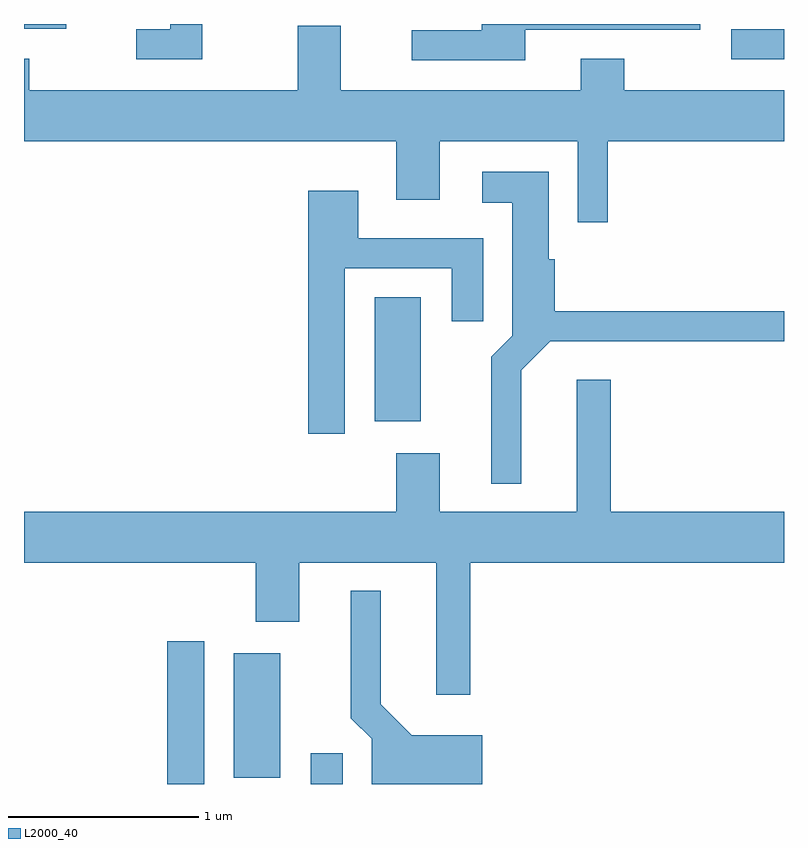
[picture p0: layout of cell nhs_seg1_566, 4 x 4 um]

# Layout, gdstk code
import gdstk
lib = gdstk.Library(unit=1e-6, precision=1e-09)
def R(c, l, rs):  # rectangles x0, y0, x1, y1
    for r in rs: c.add(gdstk.rectangle(r[:2], r[2:], *l))
def P(c, l, *ps):  # polygons
    for p in ps: c.add(gdstk.Polygon(p, *l))
L2000_40 = (2000, 40)

nhs_seg1_566 = lib.new_cell('nhs_seg1_566')
R(nhs_seg1_566, L2000_40, [(202.366,931.712,202.559,932.464), (203.121,931.712,203.289,931.873), (202.716,931.746,202.959,932.399), (203.456,933.621,203.699,934.274), (205.333,935.526,205.611,935.684), (201.611,935.686,201.834,935.712)])
P(nhs_seg1_566, L2000_40, [(202.549,935.712),(202.381,935.712),(202.381,935.684),(202.203,935.684),(202.203,935.526),(202.549,935.526)],
  [(204.249,935.681),(205.169,935.681),(205.169,935.712),(204.021,935.712),(204.021,935.679),(203.653,935.679),(203.653,935.521),(204.249,935.521)],
  [(204.684,935.096),(205.611,935.096),(205.611,935.364),(204.769,935.364),(204.769,935.529),(204.541,935.529),(204.541,935.364),(203.279,935.364),(203.279,935.704),(203.051,935.704),(203.051,935.364),(201.639,935.364),(201.639,935.529),(201.611,935.529),(201.611,935.096),(203.571,935.096),(203.571,934.786),(203.799,934.786),(203.799,935.096),(204.526,935.096),(204.526,934.668),(204.684,934.668)],
  [(204.229,933.889),(204.382,934.041),(205.611,934.041),(205.611,934.199),(204.404,934.199),(204.404,934.474),(204.374,934.474),(204.374,934.934),(204.023,934.934),(204.023,934.771),(204.181,934.771),(204.181,934.072),(204.071,933.962),(204.071,933.293),(204.229,933.293)],
  [(203.299,934.426),(203.861,934.426),(203.861,934.148),(204.029,934.148),(204.029,934.584),(203.369,934.584),(203.369,934.834),(203.106,934.834),(203.106,933.556),(203.299,933.556)],
  [(203.959,932.876),(205.611,932.876),(205.611,933.144),(204.699,933.144),(204.699,933.839),(204.521,933.839),(204.521,933.144),(203.799,933.144),(203.799,933.454),(203.571,933.454),(203.571,933.144),(201.611,933.144),(201.611,932.876),(202.831,932.876),(202.831,932.566),(203.059,932.566),(203.059,932.876),(203.781,932.876),(203.781,932.181),(203.959,932.181)],
  [(204.024,931.969),(203.652,931.969),(203.489,932.132),(203.489,932.728),(203.331,932.728),(203.331,932.059),(203.441,931.949),(203.441,931.712),(204.024,931.712)])

lib.write_gds('nhs_seg1_566.gds')
